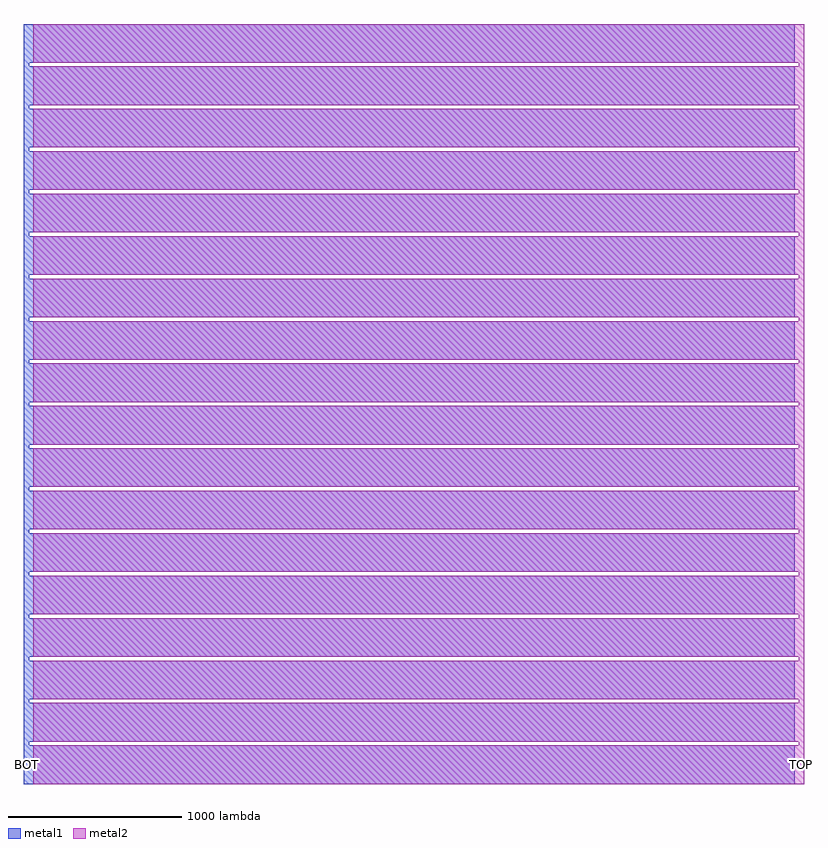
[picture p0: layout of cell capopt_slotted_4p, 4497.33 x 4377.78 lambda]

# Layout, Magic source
magic
tech SCL_CP8D
magscale 1 9
<< metal1 >>
rect -500 37400 39476 39400
rect -500 37200 -200 37400
rect -500 35200 39476 37200
rect -500 35000 -200 35200
rect -500 33000 39476 35000
rect -500 32800 -200 33000
rect -500 30800 39476 32800
rect -500 30600 -200 30800
rect -500 28600 39476 30600
rect -500 28400 -200 28600
rect -500 26400 39476 28400
rect -500 26200 -200 26400
rect -500 24200 39476 26200
rect -500 24000 -200 24200
rect -500 22000 39476 24000
rect -500 21800 -200 22000
rect -500 19800 39476 21800
rect -500 19600 -200 19800
rect -500 17600 39476 19600
rect -500 17400 -200 17600
rect -500 15400 39476 17400
rect -500 15200 -200 15400
rect -500 13200 39476 15200
rect -500 13000 -200 13200
rect -500 11000 39476 13000
rect -500 10800 -200 11000
rect -500 8800 39476 10800
rect -500 8600 -200 8800
rect -500 6600 39476 8600
rect -500 6400 -200 6600
rect -500 4400 39476 6400
rect -500 4200 -200 4400
rect -500 2200 39476 4200
rect -500 2000 -200 2200
rect -500 0 39476 2000
<< metal2 >>
rect 0 37400 39976 39400
rect 39676 37200 39976 37400
rect 0 35200 39976 37200
rect 39676 35000 39976 35200
rect 0 33000 39976 35000
rect 39676 32800 39976 33000
rect 0 30800 39976 32800
rect 39676 30600 39976 30800
rect 0 28600 39976 30600
rect 39676 28400 39976 28600
rect 0 26400 39976 28400
rect 39676 26200 39976 26400
rect 0 24200 39976 26200
rect 39676 24000 39976 24200
rect 0 22000 39976 24000
rect 39676 21800 39976 22000
rect 0 19800 39976 21800
rect 39676 19600 39976 19800
rect 0 17600 39976 19600
rect 39676 17400 39976 17600
rect 0 15400 39976 17400
rect 39676 15200 39976 15400
rect 0 13200 39976 15200
rect 39676 13000 39976 13200
rect 0 11000 39976 13000
rect 39676 10800 39976 11000
rect 0 8800 39976 10800
rect 39676 8600 39976 8800
rect 0 6600 39976 8600
rect 39676 6400 39976 6600
rect 0 4400 39976 6400
rect 39676 4200 39976 4400
rect 0 2200 39976 4200
rect 39676 2000 39976 2200
rect 0 0 39976 2000
<< labels >>
rlabel metal1 s -342 999 -342 999 4 BOT
port 1 nsew
rlabel metal2 s 39825 999 39825 999 4 TOP
port 2 nsew
<< end >>
